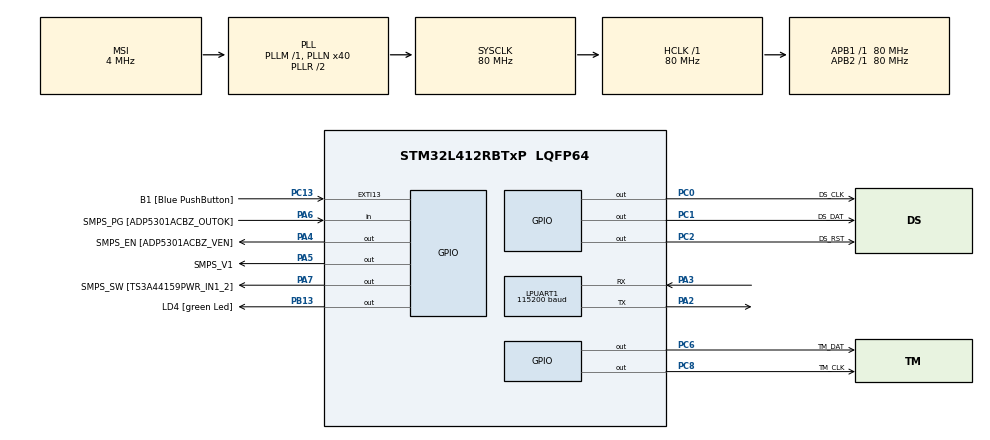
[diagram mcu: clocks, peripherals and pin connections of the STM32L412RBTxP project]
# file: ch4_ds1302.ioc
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LPUART1.BaudRate=115200
LPUART1.WordLength=UART_WORDLENGTH_8B
Mcu.Family=STM32L4
Mcu.Name=STM32L412RBTxP
Mcu.Package=LQFP64
NVIC.EXTI15_10_IRQn=true\:0\:0\:false\:false\:true\:true\:true\:true
NVIC.PriorityGroup=NVIC_PRIORITYGROUP_4
PA13\ (JTMS/SWDIO).GPIO_Label=TMS
PA13\ (JTMS/SWDIO).Mode=Serial_Wire
PA13\ (JTMS/SWDIO).Signal=SYS_JTMS-SWDIO
PA14\ (JTCK/SWCLK).GPIO_Label=TCK
PA14\ (JTCK/SWCLK).Mode=Serial_Wire
PA14\ (JTCK/SWCLK).Signal=SYS_JTCK-SWCLK
PA2.Mode=Asynchronous
PA2.Signal=LPUART1_TX
PA3.Mode=Asynchronous
PA3.Signal=LPUART1_RX
PA4.GPIO_Label=SMPS_EN [ADP5301ACBZ_VEN]
PA4.Signal=GPIO_Output
PA5.GPIO_Label=SMPS_V1
PA5.GPIO_ModeDefaultOutputPP=GPIO_MODE_OUTPUT_PP
PA5.GPIO_PuPd=GPIO_NOPULL
PA5.GPIO_Speed=GPIO_SPEED_FREQ_LOW
PA5.Signal=GPIO_Output
PA6.GPIO_Label=SMPS_PG [ADP5301ACBZ_OUTOK]
PA6.GPIO_PuPd=GPIO_PULLUP
PA6.Signal=GPIO_Input
PA7.GPIO_Label=SMPS_SW [TS3A44159PWR_IN1_2]
PA7.Signal=GPIO_Output
PB13.GPIO_Label=LD4 [green Led]
PB13.Signal=GPIO_Output
PB3\ (JTDO/TRACESWO).GPIO_Label=SWO
PB3\ (JTDO/TRACESWO).Signal=SYS_JTDO-SWO
PC0.GPIO_Label=DS_CLK 
PC0.GPIO_ModeDefaultOutputPP=GPIO_MODE_OUTPUT_PP
PC0.GPIO_PuPd=GPIO_NOPULL
PC0.GPIO_Speed=GPIO_SPEED_FREQ_LOW
PC0.PinState=GPIO_PIN_RESET
PC0.Signal=GPIO_Output
PC1.GPIO_Label=DS_DAT 
PC1.GPIO_ModeDefaultOutputPP=GPIO_MODE_OUTPUT_PP
PC1.GPIO_PuPd=GPIO_NOPULL
PC1.GPIO_Speed=GPIO_SPEED_FREQ_LOW
PC1.PinState=GPIO_PIN_RESET
PC1.Signal=GPIO_Output
PC13.GPIO_Label=B1 [Blue PushButton]
PC13.GPIO_ModeDefaultEXTI=GPIO_MODE_IT_FALLING
PC13.GPIO_PuPd=GPIO_NOPULL
PC13.Signal=GPXTI13
PC14-OSC32_IN\ (PC14).Mode=LSE-External-Oscillator
PC14-OSC32_IN\ (PC14).Signal=RCC_OSC32_IN
PC15-OSC32_OUT\ (PC15).Mode=LSE-External-Oscillator
PC15-OSC32_OUT\ (PC15).Signal=RCC_OSC32_OUT
PC2.GPIO_Label=DS_RST 
PC2.GPIO_ModeDefaultOutputPP=GPIO_MODE_OUTPUT_PP
PC2.GPIO_PuPd=GPIO_NOPULL
PC2.GPIO_Speed=GPIO_SPEED_FREQ_LOW
PC2.PinState=GPIO_PIN_RESET
PC2.Signal=GPIO_Output
PC6.GPIO_Label=TM_DAT
PC6.GPIO_PuPd=GPIO_PULLDOWN
PC6.Signal=GPIO_Output
PC8.GPIO_Label=TM_CLK
PC8.GPIO_ModeDefaultOutputPP=GPIO_MODE_OUTPUT_PP
PC8.GPIO_PuPd=GPIO_NOPULL
PC8.GPIO_Speed=GPIO_SPEED_FREQ_LOW
PC8.PinState=GPIO_PIN_RESET
PC8.Signal=GPIO_Output
PH0-OSC_IN\ (PH0).GPIO_Label=MCO
PH0-OSC_IN\ (PH0).Mode=HSE-External-Clock-Source
PH0-OSC_IN\ (PH0).Signal=RCC_OSC_IN
PH1-OSC_OUT\ (PH1).Signal=RCC_OSC_OUT
ProjectManager.HeapSize=0x200
ProjectManager.StackSize=0x400
ProjectManager.TargetToolchain=STM32CubeIDE
RCC.ADCFreq_Value=80000000
RCC.AHBFreq_Value=80000000
RCC.APB1Freq_Value=80000000
RCC.APB1TimFreq_Value=80000000
RCC.APB2Freq_Value=80000000
RCC.APB2TimFreq_Value=80000000
RCC.CortexFreq_Value=80000000
RCC.FLatency=FLASH_LATENCY_4
RCC.HCLKFreq_Value=80000000
RCC.HSE_VALUE=8000000
RCC.HSI48_VALUE=48000000
RCC.HSICalibrationValue=64
RCC.HSI_VALUE=16000000
RCC.MSIAutoCalibration=DISABLED
RCC.MSI_VALUE=4000000
RCC.PLLN=40
RCC.PREFETCH_ENABLE=1
RCC.SYSCLKFreq_VALUE=80000000
RCC.SYSCLKSource=RCC_SYSCLKSOURCE_PLLCLK
RCC.USBFreq_Value=4000000
RCC.VCOOutputFreq_Value=160000000
TIM2.Prescaler=79
VP_TIM2_VS_ClockSourceINT.Mode=Internal
board=NUCLEO-L412RB-P

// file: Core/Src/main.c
/* USER CODE BEGIN Header */

/**
  ******************************************************************************
  * @file           : main.c
  * @brief          : Main program body
  ******************************************************************************
  * @attention
  *
  * Copyright (c) 2026 STMicroelectronics.
  * All rights reserved.
  *
  * This software is licensed under terms that can be found in the LICENSE file
  * in the root directory of this software component.
  * If no LICENSE file comes with this software, it is provided AS-IS.
  *
  ******************************************************************************
  */
/* USER CODE END Header */
#include "main.h"

/* USER CODE BEGIN Includes */
#include <stdint.h>
#include <stdio.h>
#include <stm32l412xx.h>
// #include <unistd.h>

#include "ds1302.h"
#include "tm1637.h"

/* USER CODE END Includes */

UART_HandleTypeDef hlpuart1;

TIM_HandleTypeDef htim2;

/* USER CODE BEGIN PV */
// UART로 출력 보내기 위한 함수
int _write(int file, char *ptr, int len) {

  //(void)file;
  HAL_UART_Transmit(&hlpuart1, (uint8_t *)ptr, len, HAL_MAX_DELAY);
  return len;

}
/* USER CODE END PV */

void SystemClock_Config(void);
static void MX_GPIO_Init(void);
static void MX_LPUART1_UART_Init(void);
static void MX_TIM2_Init(void);

/* USER CODE BEGIN 0 */
void delay_5us(void) {
  __HAL_TIM_SET_COUNTER(&htim2, 0);
  while ((__HAL_TIM_GET_COUNTER(&htim2)) < 5);
  // HAL_Delay(1);
}
// LED blink 위한 변수 선언
uint8_t *state_dot_led = DOT_LED_OFF;
uint8_t mode_LED = 0;

/* USER CODE END 0 */

int main(void)
{

  /* MCU Configuration--------------------------------------------------------*/

  /* Reset of all peripherals, Initializes the Flash interface and the Systick. */
  HAL_Init();

  /* Configure the system clock */
  SystemClock_Config();

  /* Initialize all configured peripherals */
  MX_GPIO_Init();
  MX_LPUART1_UART_Init();
  MX_TIM2_Init();
  /* USER CODE BEGIN 2 */
  HAL_TIM_Base_Start(&htim2);

  printf("UART print test \r\n");
  write_reg_ds1302(0x90, 0x00);

  // Tirckle Charger 정보
  printf("Tirckle Charger inform : %#x \r\n", read_reg_ds1302(0x91));

  //구조체 , 공용체 선언
  _MCU_time_data mcu_clock;
  _Display_data dis_data;

  DS1302_Init(&mcu_clock);

  bust_mode_Bitfield(&dis_data,mode_LED);

   // 11 PM 설정 - for test=
   write_reg_ds1302(0x84, 0xB1);
   if (is_hour_PM_mode()) {
     printf(" is_hour_PM_mode() \r\n");
   }

//   전처리기로 테스트만 진행 -> 추후에 변수 넣어 재사용 가능
  set_new_time(&mcu_clock,SET_INIT_TIME_TYPE,SET_SEC,SET_MIN,SET_HOUR,SET_DATE,SET_MONTH,SET_DAY,SET_Year);
  enable_ch(ENABLE_CLOCK);
  bust_mode_Bitfield(&dis_data,mode_LED);

  set_hour_type_12_24(&mcu_clock, HOUR_TYPE_12);
  bust_mode_Bitfield(&dis_data,mode_LED);

  // test - 로직아날라이저 확인 ok///////////////
  test_write_tm1637();

  /* USER CODE END 2 */

  /* Infinite loop */
  /* USER CODE BEGIN WHILE */
  while (1) {
    printf(" \r\n");

    printf("Bitfield \r\n");

    bust_mode_Bitfield(&dis_data,mode_LED);
    show_tm1637(&dis_data, &state_dot_led, mode_LED);

    HAL_Delay(1000);
    /* USER CODE END WHILE */

  }
}

void SystemClock_Config(void)
{
  RCC_OscInitTypeDef RCC_OscInitStruct = {0};
  RCC_ClkInitTypeDef RCC_ClkInitStruct = {0};

  /** Configure the main internal regulator output voltage
  */
  if (HAL_PWREx_ControlVoltageScaling(PWR_REGULATOR_VOLTAGE_SCALE1) != HAL_OK)
  {
    Error_Handler();
  }

  /** Initializes the RCC Oscillators according to the specified parameters
  * in the RCC_OscInitTypeDef structure.
  */
  RCC_OscInitStruct.OscillatorType = RCC_OSCILLATORTYPE_MSI;
  RCC_OscInitStruct.MSIState = RCC_MSI_ON;
  RCC_OscInitStruct.MSICalibrationValue = 0;
  RCC_OscInitStruct.MSIClockRange = RCC_MSIRANGE_6;
  RCC_OscInitStruct.PLL.PLLState = RCC_PLL_ON;
  RCC_OscInitStruct.PLL.PLLSource = RCC_PLLSOURCE_MSI;
  RCC_OscInitStruct.PLL.PLLM = 1;
  RCC_OscInitStruct.PLL.PLLN = 40;
  RCC_OscInitStruct.PLL.PLLQ = RCC_PLLQ_DIV2;
  RCC_OscInitStruct.PLL.PLLR = RCC_PLLR_DIV2;
  if (HAL_RCC_OscConfig(&RCC_OscInitStruct) != HAL_OK)
  {
    Error_Handler();
  }

  /** Initializes the CPU, AHB and APB buses clocks
  */
  RCC_ClkInitStruct.ClockType = RCC_CLOCKTYPE_HCLK|RCC_CLOCKTYPE_SYSCLK
                              |RCC_CLOCKTYPE_PCLK1|RCC_CLOCKTYPE_PCLK2;
  RCC_ClkInitStruct.SYSCLKSource = RCC_SYSCLKSOURCE_PLLCLK;
  RCC_ClkInitStruct.AHBCLKDivider = RCC_SYSCLK_DIV1;
  RCC_ClkInitStruct.APB1CLKDivider = RCC_HCLK_DIV1;
  RCC_ClkInitStruct.APB2CLKDivider = RCC_HCLK_DIV1;

  if (HAL_RCC_ClockConfig(&RCC_ClkInitStruct, FLASH_LATENCY_4) != HAL_OK)
  {
    Error_Handler();
  }
}

static void MX_LPUART1_UART_Init(void)
{

  hlpuart1.Instance = LPUART1;
  hlpuart1.Init.BaudRate = 115200;
  hlpuart1.Init.WordLength = UART_WORDLENGTH_8B;
  hlpuart1.Init.StopBits = UART_STOPBITS_1;
  hlpuart1.Init.Parity = UART_PARITY_NONE;
  hlpuart1.Init.Mode = UART_MODE_TX_RX;
  hlpuart1.Init.HwFlowCtl = UART_HWCONTROL_NONE;
  hlpuart1.Init.OneBitSampling = UART_ONE_BIT_SAMPLE_DISABLE;
  hlpuart1.AdvancedInit.AdvFeatureInit = UART_ADVFEATURE_NO_INIT;
  if (HAL_UART_Init(&hlpuart1) != HAL_OK)
  {
    Error_Handler();
  }

}

static void MX_TIM2_Init(void)
{

  TIM_ClockConfigTypeDef sClockSourceConfig = {0};
  TIM_MasterConfigTypeDef sMasterConfig = {0};

  htim2.Instance = TIM2;
  htim2.Init.Prescaler = 79;
  htim2.Init.CounterMode = TIM_COUNTERMODE_UP;
  htim2.Init.Period = 4294967295;
  htim2.Init.ClockDivision = TIM_CLOCKDIVISION_DIV1;
  htim2.Init.AutoReloadPreload = TIM_AUTORELOAD_PRELOAD_DISABLE;
  if (HAL_TIM_Base_Init(&htim2) != HAL_OK)
  {
    Error_Handler();
  }
  sClockSourceConfig.ClockSource = TIM_CLOCKSOURCE_INTERNAL;
  if (HAL_TIM_ConfigClockSource(&htim2, &sClockSourceConfig) != HAL_OK)
  {
    Error_Handler();
  }
  sMasterConfig.MasterOutputTrigger = TIM_TRGO_RESET;
  sMasterConfig.MasterSlaveMode = TIM_MASTERSLAVEMODE_DISABLE;
  if (HAL_TIMEx_MasterConfigSynchronization(&htim2, &sMasterConfig) != HAL_OK)
  {
    Error_Handler();
  }

}

static void MX_GPIO_Init(void)
{
  GPIO_InitTypeDef GPIO_InitStruct = {0};

  /* GPIO Ports Clock Enable */
  __HAL_RCC_GPIOC_CLK_ENABLE();
  __HAL_RCC_GPIOH_CLK_ENABLE();
  __HAL_RCC_GPIOA_CLK_ENABLE();
  __HAL_RCC_GPIOB_CLK_ENABLE();

  /*Configure GPIO pin Output Level */
  HAL_GPIO_WritePin(GPIOC, DS_CLK_Pin|DS_DAT_Pin|DS_RST_Pin|TM_DAT_Pin
                          |TM_CLK_Pin, GPIO_PIN_RESET);

  /*Configure GPIO pin Output Level */
  HAL_GPIO_WritePin(GPIOA, SMPS_EN_Pin|SMPS_V1_Pin|SMPS_SW_Pin, GPIO_PIN_RESET);

  /*Configure GPIO pin Output Level */
  HAL_GPIO_WritePin(LD4_GPIO_Port, LD4_Pin, GPIO_PIN_RESET);

  /*Configure GPIO pin : B1_Pin */
  GPIO_InitStruct.Pin = B1_Pin;
  GPIO_InitStruct.Mode = GPIO_MODE_IT_FALLING;
  GPIO_InitStruct.Pull = GPIO_NOPULL;
  HAL_GPIO_Init(B1_GPIO_Port, &GPIO_InitStruct);

  /*Configure GPIO pins : DS_CLK_Pin DS_DAT_Pin DS_RST_Pin TM_CLK_Pin */
  GPIO_InitStruct.Pin = DS_CLK_Pin|DS_DAT_Pin|DS_RST_Pin|TM_CLK_Pin;
  GPIO_InitStruct.Mode = GPIO_MODE_OUTPUT_PP;
  GPIO_InitStruct.Pull = GPIO_NOPULL;
  GPIO_InitStruct.Speed = GPIO_SPEED_FREQ_LOW;
  HAL_GPIO_Init(GPIOC, &GPIO_InitStruct);

  /*Configure GPIO pins : SMPS_EN_Pin SMPS_V1_Pin SMPS_SW_Pin */
  GPIO_InitStruct.Pin = SMPS_EN_Pin|SMPS_V1_Pin|SMPS_SW_Pin;
  GPIO_InitStruct.Mode = GPIO_MODE_OUTPUT_PP;
  GPIO_InitStruct.Pull = GPIO_NOPULL;
  GPIO_InitStruct.Speed = GPIO_SPEED_FREQ_LOW;
  HAL_GPIO_Init(GPIOA, &GPIO_InitStruct);

  /*Configure GPIO pin : SMPS_PG_Pin */
  GPIO_InitStruct.Pin = SMPS_PG_Pin;
  GPIO_InitStruct.Mode = GPIO_MODE_INPUT;
  GPIO_InitStruct.Pull = GPIO_PULLUP;
  HAL_GPIO_Init(SMPS_PG_GPIO_Port, &GPIO_InitStruct);

  /*Configure GPIO pin : LD4_Pin */
  GPIO_InitStruct.Pin = LD4_Pin;
  GPIO_InitStruct.Mode = GPIO_MODE_OUTPUT_PP;
  GPIO_InitStruct.Pull = GPIO_NOPULL;
  GPIO_InitStruct.Speed = GPIO_SPEED_FREQ_LOW;
  HAL_GPIO_Init(LD4_GPIO_Port, &GPIO_InitStruct);

  /*Configure GPIO pin : TM_DAT_Pin */
  GPIO_InitStruct.Pin = TM_DAT_Pin;
  GPIO_InitStruct.Mode = GPIO_MODE_OUTPUT_PP;
  GPIO_InitStruct.Pull = GPIO_PULLDOWN;
  GPIO_InitStruct.Speed = GPIO_SPEED_FREQ_LOW;
  HAL_GPIO_Init(TM_DAT_GPIO_Port, &GPIO_InitStruct);

  /* EXTI interrupt init*/
  HAL_NVIC_SetPriority(EXTI15_10_IRQn, 0, 0);
  HAL_NVIC_EnableIRQ(EXTI15_10_IRQn);

}

/* USER CODE BEGIN 4 */
// 간단한 버전 -> 안정성 추가하려면 추가 코드 필요
void HAL_GPIO_EXTI_Callback(uint16_t GPIO_Pin) {
  if (GPIO_Pin == B1_Pin) {
    mode_LED =mode_LED+1 ;
    mode_LED = mode_LED % 4;

    printf("mode_LED : %d \r\n",mode_LED);

  }

}
/* USER CODE END 4 */

void Error_Handler(void)
{
  __disable_irq();
  while (1)
  {
  }
}
